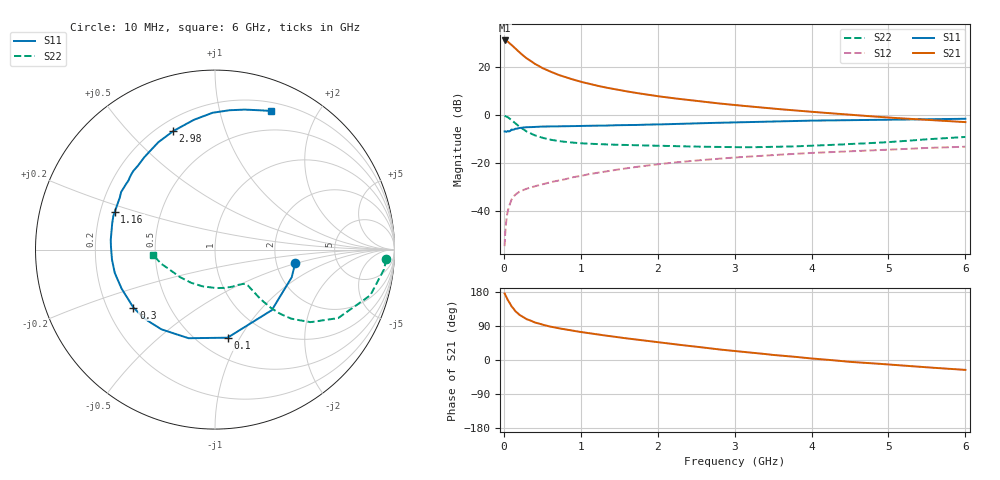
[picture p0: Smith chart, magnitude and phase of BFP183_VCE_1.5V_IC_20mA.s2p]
! Infineon Technologies  Discrete & RF Semiconductors
! BFP183
! VCE = 1.5 V,  IC =  20 mA
! Common Emitter S-Parameters:  Jan 2016
# GHz  S  MA  R  50
!  f  S11  S21  S12  S22
! GHz  MAG  ANG  MAG  ANG  MAG  ANG  MAG  ANG
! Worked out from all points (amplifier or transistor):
!   210 points, 10 MHz to 6 GHz, reference 50 ohm
!   highest |S21| = 31.2 dB at 10 MHz (marker M1)
!   |S21| within 3 dB of that: start of sweep to 137.6 MHz
!   unconditionally stable (mu >= 1): 680.3 MHz to 5.89 GHz
!   at 185 MHz: K = 0.43, MSG = 29.6 dB, |S12| = -32.5 dB
!   at 1.52 GHz: K = 1.20, MAG = 13.8 dB, |S12| = -22.6 dB
!   at 6 GHz: K = 0.98, MSG = 5.1 dB, |S12| = -13.3 dB
!   S11 on the Smith chart (normalised r, x): 10 MHz: 2.55, -0.48; 100 MHz: 0.68, -0.89; 300 MHz: 0.31, -0.29; 1.16 GHz: 0.26, +0.17; 2.98 GHz: 0.26, +0.67; 6 GHz: 0.29, +1.44
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0.01  0.4531 -9.6  36.29 175.7  0.0018 84.8  0.9557 -3.2
0.02  0.4544 -19.8  36.14 171.6  0.0038 78.1  0.948 -6.7
0.05  0.4626 -46.8  34.45 158.8  0.0096 75.2  0.9021 -16.4
0.1  0.4958 -81.9  29.43 141.7  0.017 61.4  0.7849 -29.1
0.15  0.5152 -106.6  24.64 128.7  0.0216 54.3  0.6669 -37.3
0.2  0.5351 -123.8  20.68 119.6  0.0246 50.0  0.5725 -42.2
0.24  0.5451 -133.1  18.16 114.3  0.0264 48.1  0.5161 -44.3
0.26  0.5502 -137.3  17.08 111.8  0.0272 47.5  0.4911 -45.1
0.3  0.5577 -144.6  15.21 107.4  0.0288 46.9  0.4472 -46.2
0.4  0.564 -157.3  11.85 99.2  0.0322 47.2  0.3764 -47.4
0.5  0.5733 -166.9  9.622 93.3  0.0353 47.6  0.3335 -47.4
0.6  0.5767 -174.4  8.159 88.3  0.0389 49.3  0.3054 -47.3
0.7  0.5791 179.8  6.991 84.2  0.0422 50.5  0.2862 -47.3
1.02  0.5921 164.8  4.872 73.3  0.0538 52.9  0.2554 -48.8
1.16  0.5966 159.4  4.299 69.2  0.0597 53.0  0.2487 -50.2
1.5  0.6134 148.6  3.324 59.5  0.0729 52.6  0.2377 -54.9
2.02  0.6349 132.5  2.451 46.4  0.0937 49.6  0.2278 -65.3
2.98  0.6994 109.5  1.63 24.0  0.1282 41.9  0.2127 -92.1
3.1  0.7054 107.1  1.563 21.8  0.1321 40.7  0.2118 -96.0
4.1  0.7653 89.6  1.134 2.4  0.1632 31.7  0.2303 -129.1
5.1  0.7999 77.0  0.864 -13.3  0.1906 23.8  0.2778 -156.7
6  0.8333 68.0  0.71 -26.1  0.2169 15.3  0.3474 -175.4
